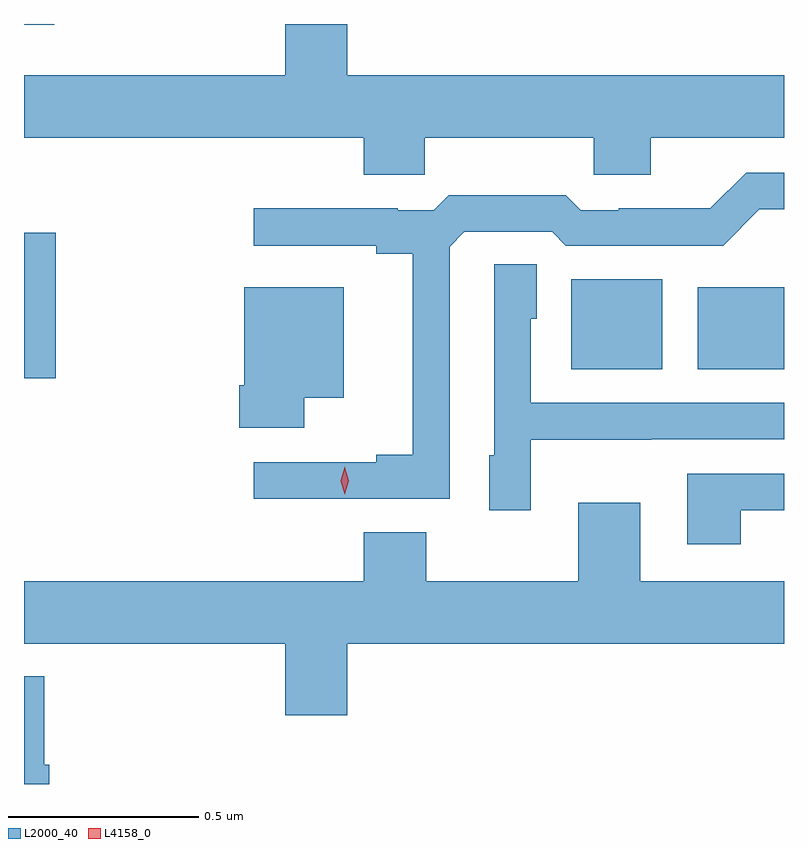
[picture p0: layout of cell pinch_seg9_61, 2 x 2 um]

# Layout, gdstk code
import gdstk
lib = gdstk.Library(unit=1e-6, precision=1e-09)
def R(c, l, rs):  # rectangles x0, y0, x1, y1
    for r in rs: c.add(gdstk.rectangle(r[:2], r[2:], *l))
def P(c, l, *ps):  # polygons
    for p in ps: c.add(gdstk.Polygon(p, *l))
L2000_40 = (2000, 40)
L4158_0 = (4158, 0)

pinch_seg9_61 = lib.new_cell('pinch_seg9_61')
R(pinch_seg9_61, L2000_40, [(907.577,1185.131,907.661,1185.514), (909.017,1185.155,909.256,1185.391), (909.35,1185.155,909.577,1185.37), (907.577,1186.061,907.657,1186.063)])
P(pinch_seg9_61, L2000_40, [(908.631,1185.764),(909.076,1185.764),(909.076,1185.666),(909.226,1185.666),(909.226,1185.764),(909.577,1185.764),(909.577,1185.928),(908.428,1185.928),(908.428,1186.063),(908.264,1186.063),(908.264,1185.928),(907.577,1185.928),(907.577,1185.764),(908.471,1185.764),(908.471,1185.666),(908.631,1185.666)],
  [(908.697,1185.477),(908.736,1185.516),(908.967,1185.516),(909.003,1185.48),(909.417,1185.48),(909.512,1185.575),(909.577,1185.575),(909.577,1185.672),(909.477,1185.672),(909.383,1185.578),(909.142,1185.578),(909.142,1185.573),(909.042,1185.573),(909.003,1185.613),(908.695,1185.613),(908.655,1185.573),(908.561,1185.573),(908.561,1185.578),(908.181,1185.578),(908.181,1185.48),(908.504,1185.48),(908.504,1185.458),(908.6,1185.458),(908.6,1184.93),(908.504,1184.93),(908.504,1184.91),(908.181,1184.91),(908.181,1184.814),(908.697,1184.814)],
  [(908.91,1184.969),(909.227,1184.969),(909.227,1184.97),(909.577,1184.97),(909.577,1185.066),(908.91,1185.066),(908.91,1185.288),(908.926,1185.288),(908.926,1185.431),(908.814,1185.431),(908.814,1184.928),(908.801,1184.928),(908.801,1184.784),(908.91,1184.784)],
  [(908.314,1185.08),(908.419,1185.08),(908.419,1185.37),(908.156,1185.37),(908.156,1185.112),(908.144,1185.112),(908.144,1185),(908.314,1185)],
  [(909.463,1184.784),(909.577,1184.784),(909.577,1184.88),(909.323,1184.88),(909.323,1184.694),(909.463,1184.694)],
  [(908.428,1184.432),(909.577,1184.432),(909.577,1184.596),(909.199,1184.596),(909.199,1184.803),(909.035,1184.803),(909.035,1184.596),(908.635,1184.596),(908.635,1184.725),(908.471,1184.725),(908.471,1184.596),(907.577,1184.596),(907.577,1184.432),(908.264,1184.432),(908.264,1184.244),(908.428,1184.244)],
  [(907.643,1184.114),(907.63,1184.114),(907.63,1184.347),(907.577,1184.347),(907.577,1184.063),(907.643,1184.063)])
P(pinch_seg9_61, L4158_0, [(908.421,1184.826),(908.421,1184.826),(908.411,1184.861),(908.421,1184.897),(908.421,1184.898),(908.421,1184.897),(908.431,1184.861),(908.421,1184.826)])

lib.write_gds('pinch_seg9_61.gds')
